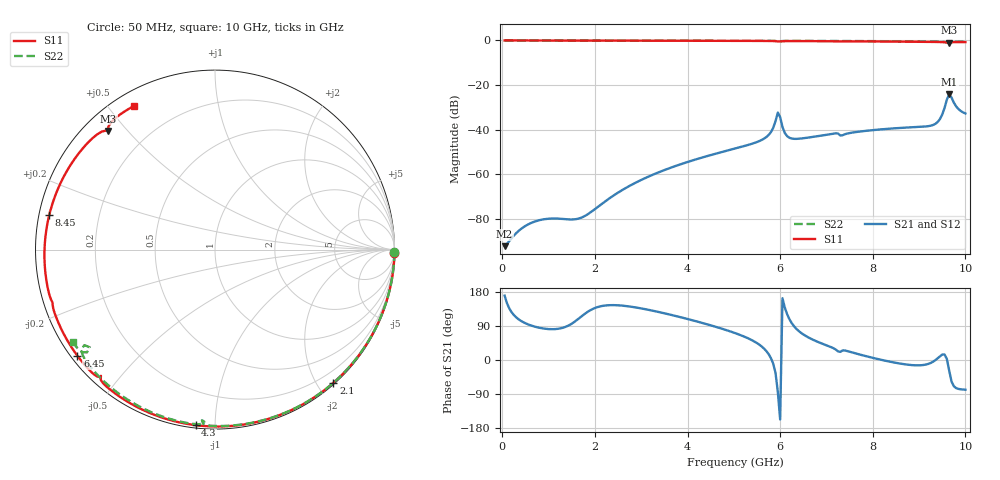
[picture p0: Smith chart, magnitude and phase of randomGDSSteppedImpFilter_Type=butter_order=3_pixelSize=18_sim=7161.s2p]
! freq	dB(S11)	phase(S11)	dB(S12)	phase(S12)
!  dB(S21)	phase(S21)	dB(S22)	phase(S22)
!S-par simulation data
#  GHz  S  DB  R 50
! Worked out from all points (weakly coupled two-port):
!   200 points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, 50 MHz to 10 GHz, reference 50 ohm
!   highest |S21| = -24.18 dB at 9.65 GHz (marker M1); lowest = -92.3 dB at 50 MHz (marker M2)
!   lowest |S11| = -1.0 dB at 9.65 GHz (marker M3), VSWR 17.07, Z = 3.51 + j22.2 ohm
!   |S11| at or under -10 dB: nowhere
!   |S22| runs from -1.1 to 0.0 dB; largest |S21 - S12| = 0
!   S11 on the Smith chart (normalised r, x): 50 MHz: 0, -97; 2.1 GHz: 0.02, -2.23; 4.3 GHz: 0.01, -0.90; 6.45 GHz: 0.02, -0.34; 8.45 GHz: 0.03, +0.10; 10 GHz: 0.06, +0.58
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0.05  -0.00 -1.2  -92.31 169.9  -92.31 169.9  -0.00 -0.9
1.75  -0.05 -40.5  -79.12 118.9  -79.12 118.9  -0.04 -29.5
2.1  -0.06 -48.4  -74.09 141.1  -74.09 141.1  -0.05 -35.3
2.7  -0.08 -61.7  -65.80 142.0  -65.80 142.0  -0.06 -45.0
3.4  -0.10 -77.0  -58.97 126.1  -58.97 126.1  -0.07 -56.1
4.3  -0.14 -96.3  -52.62 98.5  -52.62 98.5  -0.10 -69.8
5.05  -0.18 -112.3  -48.37 70.0  -48.37 70.0  -0.12 -81.0
5.7  -0.22 -126.4  -43.37 23.8  -43.37 23.8  -0.16 -90.5
5.85  -0.25 -129.9  -39.23 -9.7  -39.23 -9.7  -0.19 -92.9
5.95  -0.46 -132.1  -32.36 -84.6  -32.36 -84.6  -0.42 -94.4
6.1  -0.28 -134.3  -41.49 138.6  -41.49 138.6  -0.20 -95.3
6.15  -0.27 -135.5  -42.94 121.0  -42.94 121.0  -0.19 -96.1
6.45  -0.28 -142.3  -44.01 71.7  -44.01 71.7  -0.19 -100.5
6.7  -0.30 -148.0  -43.30 53.9  -43.30 53.9  -0.21 -103.9
7.6  -0.40 -169.3  -41.21 18.4  -41.21 18.4  -0.27 -116.1
8.35  -0.49 171.1  -39.60 -4.0  -39.60 -4.0  -0.33 -126.1
8.45  -0.51 168.3  -39.45 -6.4  -39.45 -6.4  -0.34 -127.4
9.35  -0.67 140.9  -37.44 -0.5  -37.44 -0.5  -0.46 -139.8
9.5  -0.74 135.6  -33.25 14.4  -33.25 14.4  -0.56 -142.3
9.65  -1.02 132.0  -24.18 -28.0  -24.18 -28.0  -1.06 -142.0
9.8  -0.73 126.9  -29.57 -74.2  -29.57 -74.2  -0.54 -143.3
10  -0.74 119.2  -32.75 -78.5  -32.75 -78.5  -0.50 -146.7
